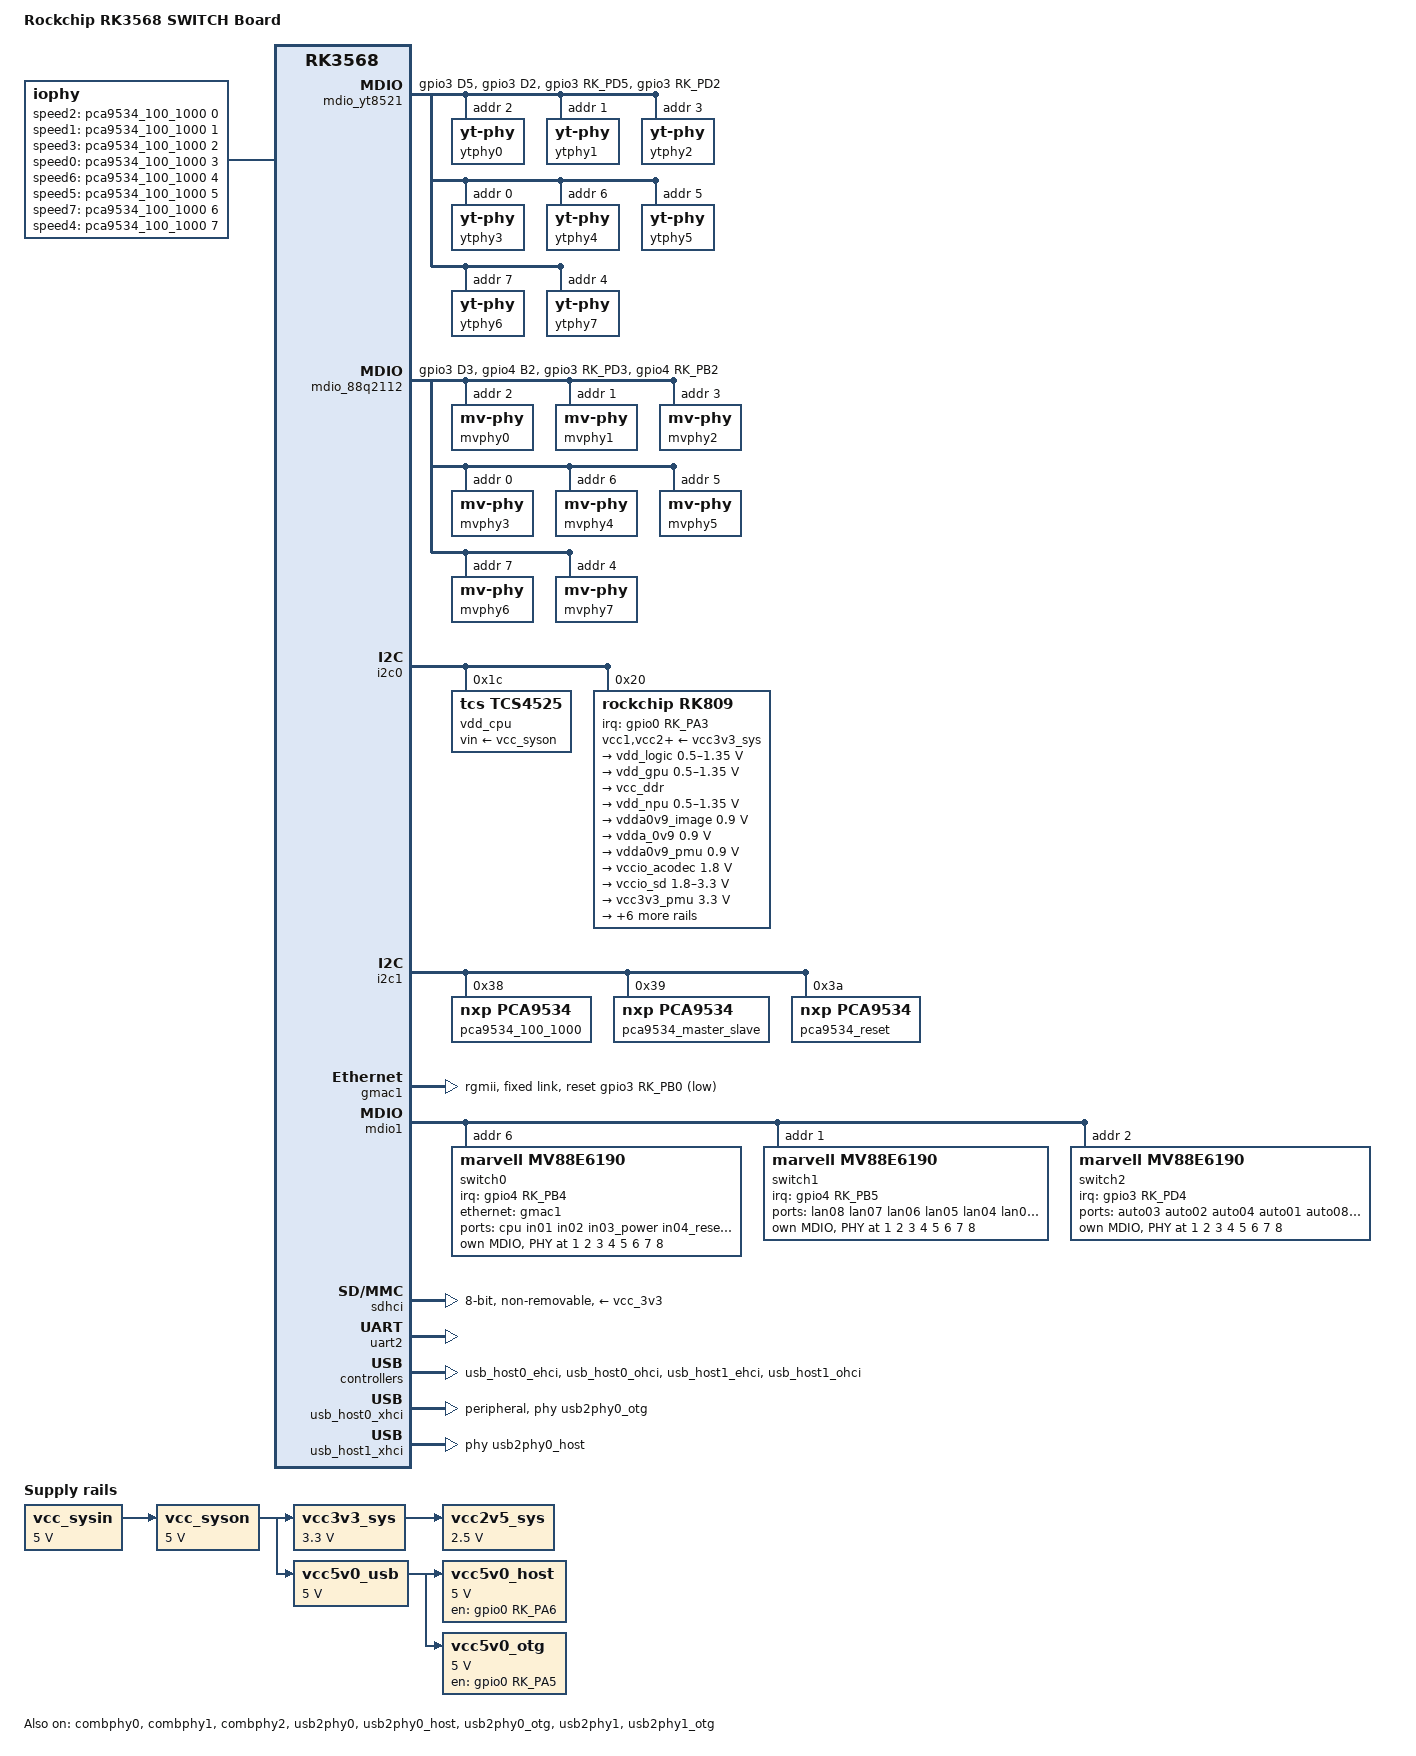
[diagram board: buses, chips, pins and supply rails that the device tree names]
// SPDX-License-Identifier: (GPL-2.0+ OR MIT)
/*
 * Copyright (c) 2020 Rockchip Electronics Co., Ltd.
 *
 */

/dts-v1/;
#include <dt-bindings/gpio/gpio.h>
#include <dt-bindings/leds/common.h>
#include <dt-bindings/pinctrl/rockchip.h>
#include <dt-bindings/soc/rockchip,vop2.h>
#include "rk3568.dtsi"

/ {
	model = "Rockchip RK3568 SWITCH Board";
	compatible = "rockchip,rk3568-switch", "rockchip,rk3568";

	aliases {
		mdio-gpio0 = &mdio_yt8521;
		mdio-gpio1 = &mdio_88q2112;
		mmc0 = &sdhci;
		mmc1 = &sdmmc0;
		mmc2 = &sdmmc1;
	};

	chosen: chosen {
		stdout-path = "serial2:1500000n8";
	};

	vcc_sysin: vcc-sysin {
		compatible = "regulator-fixed";
		regulator-name = "vcc_sysin";
		regulator-always-on;
		regulator-boot-on;
		regulator-min-microvolt = <5000000>;
		regulator-max-microvolt = <5000000>;
	};

	vcc_syson: vcc-syson {
		compatible = "regulator-fixed";
		regulator-name = "vcc_syson";
		regulator-always-on;
		regulator-boot-on;
		regulator-min-microvolt = <5000000>;
		regulator-max-microvolt = <5000000>;
		vin-supply = <&vcc_sysin>;
	};

	vcc3v3_sys: vcc3v3-sys {
		compatible = "regulator-fixed";
		regulator-name = "vcc3v3_sys";
		regulator-always-on;
		regulator-boot-on;
		regulator-min-microvolt = <3300000>;
		regulator-max-microvolt = <3300000>;
		vin-supply = <&vcc_syson>;
	};

	vcc5v0_usb: vcc5v0-usb {
		compatible = "regulator-fixed";
		regulator-name = "vcc5v0_usb";
		regulator-always-on;
		regulator-boot-on;
		regulator-min-microvolt = <5000000>;
		regulator-max-microvolt = <5000000>;
		vin-supply = <&vcc_syson>;
	};

	vcc5v0_host: vcc5v0-host-regulator {
		compatible = "regulator-fixed";
		regulator-name = "vcc5v0_host";
		regulator-boot-on;
		regulator-always-on;
		regulator-min-microvolt = <5000000>;
		regulator-max-microvolt = <5000000>;
		enable-active-high;
		gpio = <&gpio0 RK_PA6 GPIO_ACTIVE_HIGH>;
		vin-supply = <&vcc5v0_usb>;
		pinctrl-names = "default";
		pinctrl-0 = <&vcc5v0_host_en>;
	};

	vcc5v0_otg: vcc5v0-otg-regulator {
		compatible = "regulator-fixed";
		regulator-name = "vcc5v0_otg";
		regulator-min-microvolt = <5000000>;
		regulator-max-microvolt = <5000000>;
		enable-active-high;
		gpio = <&gpio0 RK_PA5 GPIO_ACTIVE_HIGH>;
		vin-supply = <&vcc5v0_usb>;
		pinctrl-names = "default";
		pinctrl-0 = <&vcc5v0_otg_en>;
	};

	firmware {
		optee: optee {
			compatible = "linaro,optee-tz";
			method = "smc";
		};
	};

	reserved-memory {
		#address-cells = <2>;
		#size-cells = <2>;
		ranges;

		ramoops: ramoops@110000 {
			compatible = "ramoops";
			reg = <0x0 0x110000 0x0 0xf0000>;
			record-size = <0x20000>;
			console-size = <0x80000>;
			ftrace-size = <0x00000>;
			pmsg-size = <0x50000>;
		}; 
	};

	vcc2v5_sys: vcc2v5-ddr {
		compatible = "regulator-fixed";
		regulator-name = "vcc2v5-sys";
		regulator-always-on;
		regulator-boot-on;
		regulator-min-microvolt = <2500000>;
		regulator-max-microvolt = <2500000>;
		vin-supply = <&vcc3v3_sys>;
	};

	mdio_yt8521: mdio_8521 {
		compatible = "virtual,mdio-gpio";
		pinctrl-names = "default";
		pinctrl-0 = <&pinctrl_mdio_bitbang0>;
		gpios = <&gpio3 RK_PD5 GPIO_ACTIVE_HIGH>, /* MDC */
			<&gpio3 RK_PD2 GPIO_ACTIVE_HIGH>; /* MDIO */
		#address-cells = <1>;
		#size-cells = <0>;
		status = "okay";

		ytphy0: yt-phy@2 {
			reg = <2>;
		};
		ytphy1: yt-phy@1 {
			reg = <1>;
		};
		ytphy2: yt-phy@3 {
			reg = <3>;
		};
		ytphy3: yt-phy@0 {
			reg = <0>;
		};
		ytphy4: yt-phy@6 {
			reg = <6>;
		};
		ytphy5: yt-phy@5 {
			reg = <5>;
		};
		ytphy6: yt-phy@7 {
			reg = <7>;
		};
		ytphy7: yt-phy@4 {
			reg = <4>;
		};

	};

	mdio_88q2112: mdio_2112 {
		compatible = "virtual,mdio-gpio";
		pinctrl-names = "default";
		pinctrl-0 = <&pinctrl_mdio_bitbang1>;
		gpios = <&gpio3 RK_PD3 GPIO_ACTIVE_HIGH>, /* MDC */
			<&gpio4 RK_PB2 GPIO_ACTIVE_HIGH>; /* MDIO */
		#address-cells = <1>;
		#size-cells = <0>;
		status = "okay";
		
		mvphy0: mv-phy@2 {
			reg = <2>;
		};
		mvphy1: mv-phy@1 {
			reg = <1>;
		};
		mvphy2: mv-phy@3 {
			reg = <3>;
		};
		mvphy3: mv-phy@0 {
			reg = <0>;
		};
		mvphy4: mv-phy@6 {
			reg = <6>;
		};
		mvphy5: mv-phy@5 {
			reg = <5>;
		};
		mvphy6: mv-phy@7 {
			reg = <7>;
		};
		mvphy7: mv-phy@4 {
			reg = <4>;
		};

	};

	iophy {
		compatible = "iophy";
		speed2-gpios = <&pca9534_100_1000 0 GPIO_ACTIVE_HIGH>;
		speed1-gpios = <&pca9534_100_1000 1 GPIO_ACTIVE_HIGH>;
		speed3-gpios = <&pca9534_100_1000 2 GPIO_ACTIVE_HIGH>;
		speed0-gpios = <&pca9534_100_1000 3 GPIO_ACTIVE_HIGH>;
		speed6-gpios = <&pca9534_100_1000 4 GPIO_ACTIVE_HIGH>;
		speed5-gpios = <&pca9534_100_1000 5 GPIO_ACTIVE_HIGH>;
		speed7-gpios = <&pca9534_100_1000 6 GPIO_ACTIVE_HIGH>;
		speed4-gpios = <&pca9534_100_1000 7 GPIO_ACTIVE_HIGH>;

		master2-gpios = <&pca9534_master_slave 0 GPIO_ACTIVE_HIGH>;
		master1-gpios = <&pca9534_master_slave 1 GPIO_ACTIVE_HIGH>;
		master3-gpios = <&pca9534_master_slave 2 GPIO_ACTIVE_HIGH>;
		master0-gpios = <&pca9534_master_slave 3 GPIO_ACTIVE_HIGH>;
		master6-gpios = <&pca9534_master_slave 4 GPIO_ACTIVE_HIGH>;
		master5-gpios = <&pca9534_master_slave 5 GPIO_ACTIVE_HIGH>;
		master7-gpios = <&pca9534_master_slave 6 GPIO_ACTIVE_HIGH>;
		master4-gpios = <&pca9534_master_slave 7 GPIO_ACTIVE_HIGH>;

		reset2-gpios = <&pca9534_reset 0 GPIO_ACTIVE_HIGH>;
		reset1-gpios = <&pca9534_reset 1 GPIO_ACTIVE_HIGH>;
		reset3-gpios = <&pca9534_reset 2 GPIO_ACTIVE_HIGH>;
		reset0-gpios = <&pca9534_reset 3 GPIO_ACTIVE_HIGH>;
		reset6-gpios = <&pca9534_reset 4 GPIO_ACTIVE_HIGH>;
		reset5-gpios = <&pca9534_reset 5 GPIO_ACTIVE_HIGH>;
		reset7-gpios = <&pca9534_reset 6 GPIO_ACTIVE_HIGH>;
		reset4-gpios = <&pca9534_reset 7 GPIO_ACTIVE_HIGH>;

		status = "okay";
	};
};

&pinctrl {
	usb {
		vcc5v0_host_en: vcc5v0-host-en {
			rockchip,pins = <0 RK_PA6 RK_FUNC_GPIO &pcfg_pull_none>;
		};

		vcc5v0_otg_en: vcc5v0-otg-en {
			rockchip,pins = <0 RK_PA5 RK_FUNC_GPIO &pcfg_pull_none>;
		};
	};


	pmic {
		pmic_int: pmic_int {
			rockchip,pins = <0 RK_PA3 RK_FUNC_GPIO &pcfg_pull_up>;
		};
	};

	gpiomdio {
		pinctrl_mdio_bitbang0: bitbang0 {
			rockchip,pins =
				<3 RK_PD5 RK_FUNC_GPIO &pcfg_pull_up>,
				<3 RK_PD2 RK_FUNC_GPIO &pcfg_pull_up>;
		};
		pinctrl_mdio_bitbang1: bitbang1 {
			rockchip,pins =
				<3 RK_PD3 RK_FUNC_GPIO &pcfg_pull_up>,
				<4 RK_PB2 RK_FUNC_GPIO &pcfg_pull_up>;
		};
	};
};

&pmu_io_domains {
	status = "okay";
	pmuio1-supply = <&vcc3v3_pmu>;
	pmuio2-supply = <&vcc3v3_pmu>;
	vccio1-supply = <&vccio_acodec>;
	vccio2-supply = <&vcc_1v8>;
	vccio3-supply = <&vccio_sd>;
	vccio4-supply = <&vcc_1v8>;
	vccio5-supply = <&vcc_3v3>;
	vccio6-supply = <&vcc_3v3>;
	vccio7-supply = <&vcc_3v3>;
};

&combphy0 {
	status = "okay";
};

&combphy1 {
	status = "okay";
};

&combphy2 {
	status = "okay";
};

&cpu0 {
	cpu-supply = <&vdd_cpu>;
};

&cpu1 {
	cpu-supply = <&vdd_cpu>;
};

&cpu2 {
	cpu-supply = <&vdd_cpu>;
};

&cpu3 {
	cpu-supply = <&vdd_cpu>;
};

&gpu {
	mali-supply = <&vdd_gpu>;
	status = "disabled";
};

&i2c0 {
	status = "okay";

	vdd_cpu: regulator@1c {
		compatible = "tcs,tcs4525";
		reg = <0x1c>;
		fcs,suspend-voltage-selector = <1>;
		regulator-name = "vdd_cpu";
		regulator-always-on;
		regulator-boot-on;
		regulator-init-microvolt = <900000>;
		regulator-min-microvolt = <810000>;
		regulator-max-microvolt = <1150000>;
		regulator-ramp-delay = <2300>;
		vin-supply = <&vcc_syson>;

		regulator-state-mem {
			regulator-off-in-suspend;
		};
	};

	rk809: pmic@20 {
		compatible = "rockchip,rk809";
		reg = <0x20>;
		interrupt-parent = <&gpio0>;
		interrupts = <RK_PA3 IRQ_TYPE_LEVEL_LOW>;

		pinctrl-names = "default";
		pinctrl-0 = <&pmic_int>;
		rockchip,system-power-controller;
		wakeup-source;
		#clock-cells = <1>;
		vcc1-supply = <&vcc3v3_sys>;
		vcc2-supply = <&vcc3v3_sys>;
		vcc3-supply = <&vcc3v3_sys>;
		vcc4-supply = <&vcc3v3_sys>;
		vcc5-supply = <&vcc3v3_sys>;
		vcc6-supply = <&vcc3v3_sys>;
		vcc7-supply = <&vcc3v3_sys>;
		vcc8-supply = <&vcc3v3_sys>;
		vcc9-supply = <&vcc3v3_sys>;

		regulators {
			vdd_logic: DCDC_REG1 {
				regulator-always-on;
				regulator-boot-on;
				regulator-min-microvolt = <500000>;
				regulator-max-microvolt = <1350000>;
				regulator-init-microvolt = <900000>;
				regulator-ramp-delay = <6001>;
				regulator-initial-mode = <0x2>;
				regulator-name = "vdd_logic";
				regulator-state-mem {
					regulator-off-in-suspend;
				};
			};

			vdd_gpu: DCDC_REG2 {
				regulator-always-on;
				regulator-boot-on;
				regulator-min-microvolt = <500000>;
				regulator-max-microvolt = <1350000>;
				regulator-init-microvolt = <900000>;
				regulator-ramp-delay = <6001>;
				regulator-initial-mode = <0x2>;
				regulator-name = "vdd_gpu";
				regulator-state-mem {
					regulator-off-in-suspend;
				};
			};

			vcc_ddr: DCDC_REG3 {
				regulator-always-on;
				regulator-boot-on;
				regulator-initial-mode = <0x2>;
				regulator-name = "vcc_ddr";
				regulator-state-mem {
					regulator-on-in-suspend;
				};
			};

			vdd_npu: DCDC_REG4 {
				regulator-always-on;
				regulator-boot-on;
				regulator-min-microvolt = <500000>;
				regulator-max-microvolt = <1350000>;
				regulator-init-microvolt = <900000>;
				regulator-ramp-delay = <6001>;
				regulator-initial-mode = <0x2>;
				regulator-name = "vdd_npu";
				regulator-state-mem {
					regulator-off-in-suspend;
				};
			};

			vdda0v9_image: LDO_REG1 {
				regulator-boot-on;
				regulator-always-on;
				regulator-min-microvolt = <900000>;
				regulator-max-microvolt = <900000>;
				regulator-name = "vdda0v9_image";
				regulator-state-mem {
					regulator-off-in-suspend;
				};
			};

			vdda_0v9: LDO_REG2 {
				regulator-always-on;
				regulator-boot-on;
				regulator-min-microvolt = <900000>;
				regulator-max-microvolt = <900000>;
				regulator-name = "vdda_0v9";
				regulator-state-mem {
					regulator-off-in-suspend;
				};
			};

			vdda0v9_pmu: LDO_REG3 {
				regulator-always-on;
				regulator-boot-on;
				regulator-min-microvolt = <900000>;
				regulator-max-microvolt = <900000>;
				regulator-name = "vdda0v9_pmu";
				regulator-state-mem {
					regulator-on-in-suspend;
					regulator-suspend-microvolt = <900000>;
				};
			};

			vccio_acodec: LDO_REG4 {
				regulator-always-on;
				regulator-boot-on;
				regulator-min-microvolt = <1800000>;
				regulator-max-microvolt = <1800000>;
				regulator-name = "vccio_acodec";
				regulator-state-mem {
					regulator-off-in-suspend;
				};
			};

			vccio_sd: LDO_REG5 {
				regulator-always-on;
				regulator-boot-on;
				regulator-min-microvolt = <1800000>;
				regulator-max-microvolt = <3300000>;
				regulator-name = "vccio_sd";
				regulator-state-mem {
					regulator-off-in-suspend;
				};
			};

			vcc3v3_pmu: LDO_REG6 {
				regulator-always-on;
				regulator-boot-on;
				regulator-min-microvolt = <3300000>;
				regulator-max-microvolt = <3300000>;
				regulator-name = "vcc3v3_pmu";
				regulator-state-mem {
					regulator-on-in-suspend;
					regulator-suspend-microvolt = <3300000>;
				};
			};

			vcca_1v8: LDO_REG7 {
				regulator-always-on;
				regulator-boot-on;
				regulator-min-microvolt = <1800000>;
				regulator-max-microvolt = <1800000>;
				regulator-name = "vcca_1v8";
				regulator-state-mem {
					regulator-off-in-suspend;
				};
			};

			vcca1v8_pmu: LDO_REG8 {
				regulator-always-on;
				regulator-boot-on;
				regulator-min-microvolt = <1800000>;
				regulator-max-microvolt = <1800000>;
				regulator-name = "vcca1v8_pmu";
				regulator-state-mem {
					regulator-on-in-suspend;
					regulator-suspend-microvolt = <1800000>;
				};
			};

			vcca1v8_image: LDO_REG9 {
				regulator-always-on;
				regulator-boot-on;
				regulator-min-microvolt = <1800000>;
				regulator-max-microvolt = <1800000>;
				regulator-name = "vcca1v8_image";
				regulator-state-mem {
					regulator-off-in-suspend;
				};
			};

			vcc_1v8: DCDC_REG5 {
				regulator-always-on;
				regulator-boot-on;
				regulator-min-microvolt = <1800000>;
				regulator-max-microvolt = <1800000>;
				regulator-name = "vcc_1v8";
				regulator-state-mem {
					regulator-off-in-suspend;
				};
			};

			vcc_3v3: SWITCH_REG1 {
				regulator-always-on;
				regulator-boot-on;
				regulator-name = "vcc_3v3";
				regulator-state-mem {
					regulator-off-in-suspend;
				};
			};

			vcc3v3_sd: SWITCH_REG2 {
				regulator-always-on;
				regulator-boot-on;
				regulator-name = "vcc3v3_sd";
				regulator-state-mem {
					regulator-off-in-suspend;
				};
			};
		};
	};
};

&i2c1 {
	status = "okay";

	pca9534_100_1000: gpio@38 {
		compatible = "nxp,pca9534";
		reg = <0x38>;
		gpio-controller;
		#gpio-cells = <2>;
		wakeup-source;

	};

	pca9534_master_slave: gpio@39 {
		compatible = "nxp,pca9534";
		reg = <0x39>;
		gpio-controller;
		#gpio-cells = <2>;
		wakeup-source;
	};

	pca9534_reset: gpio@3a {
		compatible = "nxp,pca9534";
		reg = <0x3a>;
		gpio-controller;
		#gpio-cells = <2>;
		wakeup-source;
	};
};

&i2c2 {
	status = "disabled";
};

&gmac1 {
	phy-mode = "rgmii";
	clock_in_out = "output";

	snps,reset-gpio = <&gpio3 RK_PB0 GPIO_ACTIVE_LOW>;
	snps,reset-active-low;
	snps,reset-delays-us = <0 100000 200000>;

	assigned-clocks = <&cru SCLK_GMAC1_RX_TX>, <&cru SCLK_GMAC1>;
	assigned-clock-parents = <&cru SCLK_GMAC1_RGMII_SPEED>, <&cru CLK_MAC1_2TOP>;
	assigned-clock-rates = <0>, <125000000>;

	pinctrl-names = "default";
	pinctrl-0 = <&gmac1m1_miim
		&gmac1m1_tx_bus2
		&gmac1m1_rx_bus2
		&gmac1m1_rgmii_clk
		&gmac1m1_rgmii_bus>;

	tx_delay = <0x5f>;
	rx_delay = <0x3f>;

	/delete-property/ phy-handle;
	status = "okay";

	fixed-link {
		speed = <1000>;
		full-duplex;
	};
};

&mdio1 {
	status = "okay";

	switch0: switch@6 {
		compatible = "marvell,mv88e6190";
		reg = <6>;
		dsa,member = <0 0>;
		interrupt-parent = <&gpio4>;
		interrupts = <RK_PB4 IRQ_TYPE_LEVEL_LOW>;
		interrupt-controller;
		#interrupt-cells = <2>;

		ports {
			#address-cells = <1>;
			#size-cells = <0>;

			port@0 {
				reg = <0>;
				label = "cpu";
				ethernet = <&gmac1>;
				phy-mode = "rgmii";
				fixed-link {
					speed = <1000>;
					full-duplex;
				};
			};

			port@1 {
				reg = <1>;
				label = "in01";
				phy-handle = <&switch0phy1>;
			};

			port@2 {
				reg = <2>;
				label = "in02";
				phy-handle = <&switch0phy2>;
			};

			port@3 {
				reg = <3>;
				label = "in03_power";
				phy-handle = <&switch0phy3>;
			};

			port@4 {
				reg = <4>;
				label = "in04_reserve";
				phy-handle = <&switch0phy4>;
			};

			port@5 {
				reg = <5>;
				label = "in05_agx";
				phy-handle = <&switch0phy5>;
			};

			port@6 {
				reg = <6>;
				label = "in06_arm";
				phy-handle = <&switch0phy6>;
			};

			port@7 {
				reg = <7>;
				label = "in07";
				phy-handle = <&switch0phy7>;
			};

			port@8 {
				reg = <8>;
				label = "in08_intel";
				phy-handle = <&switch0phy8>;
			};
/*
			switch0port9: port@9 {
				reg = <9>;
				label = "dsa";
				phy-mode = "xgmii";
				fixed-link {
					speed = <2500>;
					full-duplex;
				};
			};
*/
			switch0port10: port@10 {
				reg = <10>;
				label = "dsa";
				phy-mode = "2500base-x";
				link = <&switch1port9>;
				fixed-link {
					speed = <2500>;
					full-duplex;
				};
			};
		};

		mdio {
			#address-cells = <1>;
			#size-cells = <0>;

			switch0phy1: switch0phy@1 {
				reg = <1>;
				interrupts = <1 IRQ_TYPE_LEVEL_HIGH>;
			};

			switch0phy2: switch0phy@2 {
				reg = <2>;
				interrupts = <2 IRQ_TYPE_LEVEL_HIGH>;
			};

			switch0phy3: switch0phy@3 {
				reg = <3>;
				interrupts = <3 IRQ_TYPE_LEVEL_HIGH>;
			};

			switch0phy4: switch0phy@4 {
				reg = <4>;
				interrupts = <4 IRQ_TYPE_LEVEL_HIGH>;
			};

			switch0phy5: switch0phy@5 {
				reg = <5>;
				interrupts = <5 IRQ_TYPE_LEVEL_HIGH>;
			};

			switch0phy6: switch0phy@6 {
				reg = <6>;
				interrupts = <6 IRQ_TYPE_LEVEL_HIGH>;
			};

			switch0phy7: switch0phy@7 {
				reg = <7>;
				interrupts = <7 IRQ_TYPE_LEVEL_HIGH>;
			};

			switch0phy8: switch0phy@8 {
				reg = <8>;
				interrupts = <8 IRQ_TYPE_LEVEL_HIGH>;
			};
		};
	};

	switch1: switch@1 {
		compatible = "marvell,mv88e6190";	
		reg = <1>;
		dsa,member = <0 1>;
		interrupt-parent = <&gpio4>;
		interrupts = <RK_PB5 IRQ_TYPE_LEVEL_LOW>;
		interrupt-controller;
		#interrupt-cells = <2>;
	
		ports {
			#address-cells = <1>;
			#size-cells = <0>;

			port@1 {
				reg = <1>;
				label = "lan08";
				phy-handle = <&switch1phy1>;
			};

			port@2 {
				reg = <2>;
				label = "lan07";
				phy-handle = <&switch1phy2>;
			};

			port@3 {
				reg = <3>;
				label = "lan06";
				phy-handle = <&switch1phy3>;
			};

			port@4 {
				reg = <4>;
				label = "lan05";
				phy-handle = <&switch1phy4>;
			};

			port@5 {
				reg = <5>;
				label = "lan04";
				phy-handle = <&switch1phy5>;
			};

			port@6 {
				reg = <6>;
				label = "lan03";
				phy-handle = <&switch1phy6>;
			};

			port@7 {
				reg = <7>;
				label = "lan02";
				phy-handle = <&switch1phy7>;
			};

			port@8 {
				reg = <8>;
				label = "lan01";
				phy-handle = <&switch1phy8>;
			};

			switch1port9: port@9 {
				reg = <9>;
				label = "dsa";
				phy-mode = "2500base-x";
				link = <&switch0port10>;
				fixed-link {
					speed = <2500>;
					full-duplex;
				};
			};

			switch1port10: port@10 {
				reg = <10>;
				label = "dsa";
				phy-mode = "xaui";
				link = <&switch2port9>;
				fixed-link {
					speed = <10000>;
					full-duplex;
				};
			};
		};

		mdio {
			#address-cells = <1>;
			#size-cells = <0>;

			switch1phy1: switch1phy@1 {
				reg = <1>;
				interrupts = <1 IRQ_TYPE_LEVEL_HIGH>;
			};

			switch1phy2: switch1phy@2 {
				reg = <2>;
				interrupts = <2 IRQ_TYPE_LEVEL_HIGH>;
			};

			switch1phy3: switch1phy@3 {
				reg = <3>;
				interrupts = <3 IRQ_TYPE_LEVEL_HIGH>;
			};

			switch1phy4: switch1phy@4 {
				reg = <4>;
				interrupts = <4 IRQ_TYPE_LEVEL_HIGH>;
			};

			switch1phy5: switch1phy@5 {
				reg = <5>;
				interrupts = <5 IRQ_TYPE_LEVEL_HIGH>;
			};

			switch1phy6: switch1phy@6 {
				reg = <6>;
				interrupts = <6 IRQ_TYPE_LEVEL_HIGH>;
			};

			switch1phy7: switch1phy@7 {
				reg = <7>;
				interrupts = <7 IRQ_TYPE_LEVEL_HIGH>;
			};

			switch1phy8: switch1phy@8 {
				reg = <8>;
				interrupts = <8 IRQ_TYPE_LEVEL_HIGH>;
			};
		};
	};

	switch2: switch@2 {
		compatible = "marvell,mv88e6190";	
		reg = <2>;
		dsa,member = <0 2>;
		interrupt-parent = <&gpio3>;
		interrupts = <RK_PD4 IRQ_TYPE_LEVEL_LOW>;
		interrupt-controller;
		#interrupt-cells = <2>;

		ports {
			#address-cells = <1>;
			#size-cells = <0>;

			port@1 {
				reg = <1>;
				label = "auto03";
				phy-handle = <&switch2phy1>;
			};

			port@2 {
				reg = <2>;
				label = "auto02";
				phy-handle = <&switch2phy2>;
			};

			port@3 {
				reg = <3>;
				label = "auto04";
				phy-handle = <&switch2phy3>;
			};

			port@4 {
				reg = <4>;
				label = "auto01";
				phy-handle = <&switch2phy4>;
			};
	
			port@5 {
				reg = <5>;
				label = "auto08";
				phy-handle = <&switch2phy5>;
			};

			port@6 {
				reg = <6>;
				label = "auto06";
				phy-handle = <&switch2phy6>;
			};

			port@7 {
				reg = <7>;
				label = "auto07";
				phy-handle = <&switch2phy7>;
			};

			port@8 {
				reg = <8>;
				label = "auto05";
				phy-handle = <&switch2phy8>;
			};

			switch2port9: port@9 {
				reg = <9>;
				label = "dsa";
				phy-mode = "xaui";
				link = <&switch1port10>;
				fixed-link {
					speed = <10000>;
					full-duplex;
				};
			};

			switch2port10: port@10 {
				reg = <10>;
				label = "up0";
				phy-mode = "xaui";
				fixed-link {
					speed = <10000>;
					full-duplex;
				};
			};
		};

		mdio {
			#address-cells = <1>;
			#size-cells = <0>;

			switch2phy1: switch2phy@1 {
				reg = <1>;
				interrupts = <1 IRQ_TYPE_LEVEL_HIGH>;
			};

			switch2phy2: switch2phy@2 {
				reg = <2>;
				interrupts = <2 IRQ_TYPE_LEVEL_HIGH>;
			};

			switch2phy3: switch2phy@3 {
				reg = <3>;
				interrupts = <3 IRQ_TYPE_LEVEL_HIGH>;
			};

			switch2phy4: switch2phy@4 {
				reg = <4>;
				interrupts = <4 IRQ_TYPE_LEVEL_HIGH>;
			};

			switch2phy5: switch2phy@5 {
				reg = <5>;
				interrupts = <5 IRQ_TYPE_LEVEL_HIGH>;
			};

			switch2phy6: switch2phy@6 {
				reg = <6>;
				interrupts = <6 IRQ_TYPE_LEVEL_HIGH>;
			};

			switch2phy7: switch2phy@7 {
				reg = <7>;
				interrupts = <7 IRQ_TYPE_LEVEL_HIGH>;
			};

			switch2phy8: switch2phy@8 {
				reg = <8>;
				interrupts = <8 IRQ_TYPE_LEVEL_HIGH>;
			};
		};
	};
};

&pcie30phy {
	status = "disabled";
};

&pcie3x2 {
	status = "disabled";
};

&saradc {
	vref-supply = <&vcc_1v8>;
	status = "disabled";
};

&sdhci {
	bus-width = <8>;
	max-frequency = <200000000>;
	non-removable;
	pinctrl-names = "default";
	pinctrl-0 = <&emmc_bus8 &emmc_clk &emmc_cmd>;
	supports-emmc;
	vmmc-supply = <&vcc_3v3>;
	vqmmc-supply = <&vcc_1v8>;
	status = "okay";
};

&sdmmc0 {
	status = "disabled";
};

&sdmmc1 {
	status = "disabled";
};

&tsadc {
	status = "disabled";
};

&uart2 {
	status = "okay";
};

&usb_host0_ehci {
	status = "okay";
};

&usb_host0_ohci {
	status = "okay";
};

&usb_host0_xhci {
	phys = <&usb2phy0_otg>;
	phy-names = "usb2-phy";
	dr_mode = "peripheral";
	extcon = <&usb2phy0>;
	maximum-speed = "high-speed";
	snps,dis_u2_susphy_quirk;
	status = "okay";
};

&usb_host1_xhci {
	phys = <&usb2phy0_host>;
	phy-names = "usb2-phy";
	maximum-speed = "high-speed";
	status = "okay";
};

&usb_host1_ehci {
	status = "okay";
};

&usb_host1_ohci { 
	status = "okay";
};

&usb2phy0 {
	status = "okay";
};

&usb2phy0_host {
	phy-supply = <&vcc5v0_host>;
	status = "okay";
};

&usb2phy0_otg {
	phy-supply = <&vcc5v0_otg>;
	status = "okay";
};

&usb2phy1 {
	phy-supply = <&vcc5v0_host>;
	status = "okay";
};

&usb2phy1_otg {
	phy-supply = <&vcc5v0_host>;
	status = "okay";
};

&vop {
	status = "disabled";
};

&vop_mmu {
	status = "disabled";
};

&vp0 {
	status = "disabled";
};

